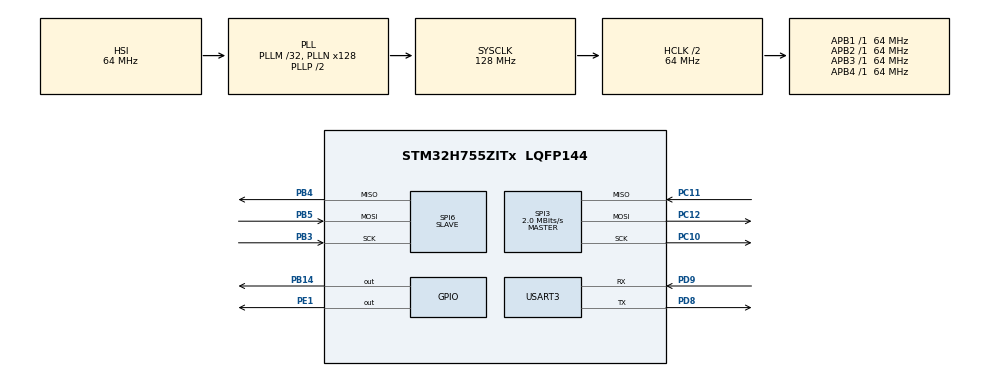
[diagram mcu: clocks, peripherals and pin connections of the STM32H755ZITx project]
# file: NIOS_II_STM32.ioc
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CORTEX_M7.default_mode_Activation=1
CortexM4.IPs=BDMA,CORTEX_M4\:I,DMA,FATFS_M4\:I,FREERTOS_M4\:I,GPIO,IWDG2\:I,MDMA,NVIC2\:I,OPENAMP_M4\:I,PDM2PCM_M4\:I,PWR,RCC,RESMGR_UTILITY,SYS_M4\:I,USB_DEVICE_M4\:I,USB_HOST_M4\:I,VREFBUF,WWDG2\:I
CortexM7.IPs=BDMA\:I,CORTEX_M7\:I,DMA\:I,FATFS_M7\:I,FREERTOS_M7\:I,GPIO\:I,IWDG1\:I,MDMA\:I,NVIC1\:I,OPENAMP_M7\:I,PDM2PCM_M7\:I,PWR\:I,RCC\:I,RESMGR_UTILITY\:I,SYS\:I,USB_DEVICE_M7\:I,USB_HOST_M7\:I,VREFBUF\:I,WWDG1\:I,SPI6\:I,TIM16\:I,USART3\:I,SPI3\:I
CortexM7.Pins=PB14,PE1
Mcu.Family=STM32H7
Mcu.Name=STM32H755ZITx
Mcu.Package=LQFP144
NVIC1.PriorityGroup=NVIC_PRIORITYGROUP_4
NVIC1.SPI3_IRQn=true\:0\:0\:false\:false\:true\:true\:true\:true
NVIC1.SPI6_IRQn=true\:0\:0\:false\:false\:true\:true\:true\:true
NVIC1.TIM16_IRQn=true\:0\:0\:false\:false\:true\:true\:true\:true
NVIC2.PriorityGroup=NVIC_PRIORITYGROUP_4
PB14.PinAttribute=CortexM7
PB14.Signal=GPIO_Output
PB3\ (JTDO/TRACESWO).Mode=Full_Duplex_Slave
PB3\ (JTDO/TRACESWO).PinAttribute=CortexM7
PB3\ (JTDO/TRACESWO).Signal=SPI6_SCK
PB4\ (NJTRST).Mode=Full_Duplex_Slave
PB4\ (NJTRST).PinAttribute=CortexM7
PB4\ (NJTRST).Signal=SPI6_MISO
PB5.Mode=Full_Duplex_Slave
PB5.PinAttribute=CortexM7
PB5.Signal=SPI6_MOSI
PC10.Mode=Full_Duplex_Master
PC10.PinAttribute=CortexM7
PC10.Signal=SPI3_SCK
PC11.Mode=Full_Duplex_Master
PC11.PinAttribute=CortexM7
PC11.Signal=SPI3_MISO
PC12.Mode=Full_Duplex_Master
PC12.PinAttribute=CortexM7
PC12.Signal=SPI3_MOSI
PC14-OSC32_IN\ (OSC32_IN).Mode=LSE-External-Oscillator
PC14-OSC32_IN\ (OSC32_IN).PinAttribute=Free
PC14-OSC32_IN\ (OSC32_IN).Signal=RCC_OSC32_IN
PC15-OSC32_OUT\ (OSC32_OUT).Mode=LSE-External-Oscillator
PC15-OSC32_OUT\ (OSC32_OUT).PinAttribute=Free
PC15-OSC32_OUT\ (OSC32_OUT).Signal=RCC_OSC32_OUT
PD8.Mode=Asynchronous
PD8.PinAttribute=CortexM7
PD8.Signal=USART3_TX
PD9.Mode=Asynchronous
PD9.PinAttribute=CortexM7
PD9.Signal=USART3_RX
PE1.GPIO_PuPd=GPIO_NOPULL
PE1.GPIO_Speed=GPIO_SPEED_FREQ_HIGH
PE1.PinAttribute=CortexM7
PE1.PinState=GPIO_PIN_RESET
PE1.Signal=GPIO_Output
PH0-OSC_IN\ (PH0).Mode=HSE-External-Oscillator
PH0-OSC_IN\ (PH0).PinAttribute=Free
PH0-OSC_IN\ (PH0).Signal=RCC_OSC_IN
PH1-OSC_OUT\ (PH1).Mode=HSE-External-Oscillator
PH1-OSC_OUT\ (PH1).PinAttribute=Free
PH1-OSC_OUT\ (PH1).Signal=RCC_OSC_OUT
ProjectManager.HeapSize=M4-0x200,M7-0x200
ProjectManager.StackSize=M4-0x400,M7-0x400
ProjectManager.TargetToolchain=STM32CubeIDE
RCC.ADCFreq_Value=129000000
RCC.APB1Freq_Value=64000000
RCC.APB2Freq_Value=64000000
RCC.APB3Freq_Value=64000000
RCC.APB4Freq_Value=64000000
RCC.CortexFreq_Value=64000000
RCC.D1CPRE=RCC_SYSCLK_DIV2
RCC.DIVN1=128
RCC.DIVQ1=4
RCC.DIVQ2=8
RCC.HCLKFreq_Value=64000000
RCC.SPI6CLockSelection=RCC_SPI6CLKSOURCE_PLL2
RCC.SYSCLKFreq_VALUE=128000000
RCC.SYSCLKSource=RCC_SYSCLKSOURCE_PLLCLK
RCC.USART234578CLockSelection=RCC_USART234578CLKSOURCE_PLL2
RCC.USBFreq_Value=64000000
SPI3.BaudRatePrescaler=SPI_BAUDRATEPRESCALER_32
SPI3.CLKPhase=SPI_PHASE_2EDGE
SPI3.CLKPolarity=SPI_POLARITY_HIGH
SPI3.CalculateBaudRate=2.0 MBits/s
SPI3.DataSize=SPI_DATASIZE_8BIT
SPI3.Direction=SPI_DIRECTION_2LINES
SPI3.Mode=SPI_MODE_MASTER
SPI3.VirtualType=VM_MASTER
SPI6.CLKPhase=SPI_PHASE_2EDGE
SPI6.CLKPolarity=SPI_POLARITY_HIGH
SPI6.DataSize=SPI_DATASIZE_8BIT
SPI6.Direction=SPI_DIRECTION_2LINES
SPI6.Mode=SPI_MODE_SLAVE
SPI6.VirtualType=VM_SLAVE
SYS.userName=SYS_M7
TIM16.Period=10000-1
TIM16.Prescaler=3200-1
USART3.VirtualMode-Asynchronous=VM_ASYNC
VP_SYS_M4_VS_Systick.Mode=SysTick
VP_TIM16_VS_ClockSourceINT.Mode=Enable_Timer
board=custom

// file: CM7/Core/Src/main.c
/* USER CODE BEGIN Header */
/**
  ******************************************************************************
  * @file           : main.c
  * @brief          : Main program body
  ******************************************************************************
  * @attention
  *
  * Copyright (c) 2024 STMicroelectronics.
  * All rights reserved.
  *
  * This software is licensed under terms that can be found in the LICENSE file
  * in the root directory of this software component.
  * If no LICENSE file comes with this software, it is provided AS-IS.
  *
  ******************************************************************************
  */
/* USER CODE END Header */
#include "main.h"
#include "spi.h"
#include "tim.h"
#include "usart.h"
#include "gpio.h"

/* USER CODE BEGIN PD */

#ifndef HSEM_ID_0
#define HSEM_ID_0 (0U) /* HW semaphore 0*/
#endif

/* USER CODE END PD */

/* USER CODE BEGIN PV */
uint8_t rx_data[10];					// Define Global Variable as UART Buffer
/* USER CODE END PV */

void SystemClock_Config(void);
void PeriphCommonClock_Config(void);
static void MPU_Config(void);

int main(void)
{

  /* USER CODE BEGIN 1 */

	char uart_buf[50];								// TIMER VARIABLES
	int uart_buf_len;								// TIMER VARIABLES
	uint16_t timer_val;								// TIMER VARIABLES

  /* USER CODE END 1 */
/* USER CODE BEGIN Boot_Mode_Sequence_0 */
  int32_t timeout;
/* USER CODE END Boot_Mode_Sequence_0 */

  /* MPU Configuration--------------------------------------------------------*/
  MPU_Config();

/* USER CODE BEGIN Boot_Mode_Sequence_1 */
  /* Wait until CPU2 boots and enters in stop mode or timeout*/
  timeout = 0xFFFF;
  while((__HAL_RCC_GET_FLAG(RCC_FLAG_D2CKRDY) != RESET) && (timeout-- > 0));
  if ( timeout < 0 )
  {
  Error_Handler();
  }
/* USER CODE END Boot_Mode_Sequence_1 */
  /* MCU Configuration--------------------------------------------------------*/

  /* Reset of all peripherals, Initializes the Flash interface and the Systick. */
  HAL_Init();

  /* Configure the system clock */
  SystemClock_Config();

  /* Configure the peripherals common clocks */
  PeriphCommonClock_Config();
/* USER CODE BEGIN Boot_Mode_Sequence_2 */
/* When system initialization is finished, Cortex-M7 will release Cortex-M4 by means of
HSEM notification */
/*HW semaphore Clock enable*/
__HAL_RCC_HSEM_CLK_ENABLE();
/*Take HSEM */
HAL_HSEM_FastTake(HSEM_ID_0);
/*Release HSEM in order to notify the CPU2(CM4)*/
HAL_HSEM_Release(HSEM_ID_0,0);
/* wait until CPU2 wakes up from stop mode */
timeout = 0xFFFF;
while((__HAL_RCC_GET_FLAG(RCC_FLAG_D2CKRDY) == RESET) && (timeout-- > 0));
if ( timeout < 0 )
{
Error_Handler();
}
/* USER CODE END Boot_Mode_Sequence_2 */

  /* Initialize all configured peripherals */
  MX_GPIO_Init();
  MX_SPI6_Init();
  MX_TIM16_Init();
  MX_USART3_UART_Init();
  MX_SPI3_Init();
  /* USER CODE BEGIN 2 */
  uart_buf_len = sprintf(uart_buf, "Timer Test\r\n");							// Calculates the size of the sentence
  HAL_UART_Transmit(&huart3, (uint8_t *)uart_buf, uart_buf_len, 100);			// SPI Transmit

    // Starts the timer - Normal
    // HAL_TIM_Base_Start(&htim16);

	// Starts the timer - Interrupt Mode
	HAL_TIM_Base_Start_IT(&htim16);

  	// Using SPI in Interrupt Mode
	// Starts SPI in Non-Blocking Mode

	uint8_t *send_buff = (uint8_t *)"fred";										// Define Send Buffer
	uint8_t rec_buff[4];														// Define Receive Buffer

	HAL_SPI_Receive_IT(&hspi6, rx_data, 4U);									// Single SPI Receive in IT mode
	HAL_SPI_Transmit_IT(&hspi3, send_buff, 4U);									// Single SPI Transmit in IT mode

	HAL_Delay(1000U);															// Delay for 1s

  /* USER CODE END 2 */

  /* Infinite loop */
  while (1)
  {

    /* USER CODE BEGIN 3 */

	  // Get current time (microseconds)
	  // timer_val = __HAL_TIM_GET_COUNTER(&htim16);

	  // Wait for 50 ms
	  // HAL_GPIO_WritePin(GPIOE, GPIO_PIN_1, GPIO_PIN_SET);
	  // HAL_Delay(50);
	  // HAL_GPIO_WritePin(GPIOE, GPIO_PIN_1, GPIO_PIN_RESET);

	  // Get time elapsed
	  // timer_val = __HAL_TIM_GET_COUNTER(&htim16) - timer_val;

	  // Show elapsed time
	  // uart_buf_len = sprintf(uart_buf, "%u us\r\n", timer_val);						// Calculate lenght of timer_val
	  // HAL_UART_Transmit(&huart3, (uint8_t *)uart_buf, uart_buf_len, 100);			// Prints the value of timer_val

	  // Doing other tasks
	  HAL_SPI_Transmit_IT(&hspi3, send_buff, 4U);									// Single SPI Transmit in IT mode
	  //HAL_GPIO_TogglePin(GPIOB, GPIO_PIN_14); 										// Toggle LED to show the system is running
	  HAL_Delay(500);                        										// Delay for 500 ms
  }
  /* USER CODE END 3 */
}

void SystemClock_Config(void)
{
  RCC_OscInitTypeDef RCC_OscInitStruct = {0};
  RCC_ClkInitTypeDef RCC_ClkInitStruct = {0};

  /** Supply configuration update enable
  */
  HAL_PWREx_ConfigSupply(PWR_DIRECT_SMPS_SUPPLY);

  /** Configure the main internal regulator output voltage
  */
  __HAL_PWR_VOLTAGESCALING_CONFIG(PWR_REGULATOR_VOLTAGE_SCALE3);

  while(!__HAL_PWR_GET_FLAG(PWR_FLAG_VOSRDY)) {}

  /** Initializes the RCC Oscillators according to the specified parameters
  * in the RCC_OscInitTypeDef structure.
  */
  RCC_OscInitStruct.OscillatorType = RCC_OSCILLATORTYPE_HSI;
  RCC_OscInitStruct.HSIState = RCC_HSI_DIV1;
  RCC_OscInitStruct.HSICalibrationValue = RCC_HSICALIBRATION_DEFAULT;
  RCC_OscInitStruct.PLL.PLLState = RCC_PLL_ON;
  RCC_OscInitStruct.PLL.PLLSource = RCC_PLLSOURCE_HSI;
  RCC_OscInitStruct.PLL.PLLM = 32;
  RCC_OscInitStruct.PLL.PLLN = 128;
  RCC_OscInitStruct.PLL.PLLP = 2;
  RCC_OscInitStruct.PLL.PLLQ = 4;
  RCC_OscInitStruct.PLL.PLLR = 2;
  RCC_OscInitStruct.PLL.PLLRGE = RCC_PLL1VCIRANGE_1;
  RCC_OscInitStruct.PLL.PLLVCOSEL = RCC_PLL1VCOWIDE;
  RCC_OscInitStruct.PLL.PLLFRACN = 0;
  if (HAL_RCC_OscConfig(&RCC_OscInitStruct) != HAL_OK)
  {
    Error_Handler();
  }

  /** Initializes the CPU, AHB and APB buses clocks
  */
  RCC_ClkInitStruct.ClockType = RCC_CLOCKTYPE_HCLK|RCC_CLOCKTYPE_SYSCLK
                              |RCC_CLOCKTYPE_PCLK1|RCC_CLOCKTYPE_PCLK2
                              |RCC_CLOCKTYPE_D3PCLK1|RCC_CLOCKTYPE_D1PCLK1;
  RCC_ClkInitStruct.SYSCLKSource = RCC_SYSCLKSOURCE_PLLCLK;
  RCC_ClkInitStruct.SYSCLKDivider = RCC_SYSCLK_DIV2;
  RCC_ClkInitStruct.AHBCLKDivider = RCC_HCLK_DIV1;
  RCC_ClkInitStruct.APB3CLKDivider = RCC_APB3_DIV1;
  RCC_ClkInitStruct.APB1CLKDivider = RCC_APB1_DIV1;
  RCC_ClkInitStruct.APB2CLKDivider = RCC_APB2_DIV1;
  RCC_ClkInitStruct.APB4CLKDivider = RCC_APB4_DIV1;

  if (HAL_RCC_ClockConfig(&RCC_ClkInitStruct, FLASH_LATENCY_1) != HAL_OK)
  {
    Error_Handler();
  }
}

void PeriphCommonClock_Config(void)
{
  RCC_PeriphCLKInitTypeDef PeriphClkInitStruct = {0};

  /** Initializes the peripherals clock
  */
  PeriphClkInitStruct.PeriphClockSelection = RCC_PERIPHCLK_SPI6|RCC_PERIPHCLK_USART3;
  PeriphClkInitStruct.PLL2.PLL2M = 32;
  PeriphClkInitStruct.PLL2.PLL2N = 129;
  PeriphClkInitStruct.PLL2.PLL2P = 2;
  PeriphClkInitStruct.PLL2.PLL2Q = 8;
  PeriphClkInitStruct.PLL2.PLL2R = 2;
  PeriphClkInitStruct.PLL2.PLL2RGE = RCC_PLL2VCIRANGE_1;
  PeriphClkInitStruct.PLL2.PLL2VCOSEL = RCC_PLL2VCOWIDE;
  PeriphClkInitStruct.PLL2.PLL2FRACN = 0;
  PeriphClkInitStruct.Usart234578ClockSelection = RCC_USART234578CLKSOURCE_PLL2;
  PeriphClkInitStruct.Spi6ClockSelection = RCC_SPI6CLKSOURCE_PLL2;
  if (HAL_RCCEx_PeriphCLKConfig(&PeriphClkInitStruct) != HAL_OK)
  {
    Error_Handler();
  }
}

/* USER CODE BEGIN 4 */
// Timer Period Elapsed Callback
// This function is called everytime the timer's counter is maximized.
void HAL_TIM_PeriodElapsedCallback(TIM_HandleTypeDef *htim){
	// Check the timer handle
	if (htim == &htim16){
		HAL_GPIO_TogglePin(GPIOB, GPIO_PIN_14);
		// We only send this message everytime the LED changes from off to on -- why serial is faster than the led blinking? Solution is this

		if(HAL_GPIO_ReadPin(GPIOE, GPIO_PIN_1) == GPIO_PIN_SET){
			char c[50] = "Timer Elapsed!\n";
			HAL_UART_Transmit(&huart3, (uint8_t *)c, sizeof(c), 100);
		}
	}
}

// SPI Receive Complete Callback
// This function is called everytime the SPI Receive is completed.
void HAL_SPI_RxCpltCallback(SPI_HandleTypeDef *hspi) {
    if (hspi->Instance == SPI6) {
        // Data reception complete, print in serial terminal
    	HAL_GPIO_TogglePin(GPIOE, GPIO_PIN_1);
    	HAL_UART_Transmit(&huart3, (uint8_t *)rx_data, sizeof(4U), 100);

    	// Single SPI Receive gets the SPI ready for any incoming traffic via SPI
    	 if (HAL_SPI_Receive_IT(&hspi6, (uint8_t*)rx_data, sizeof(4U)) != HAL_OK) {
    	  		// Reception Error
    	  		Error_Handler();
    	 }
    }
}

// SPI Error Callback
void HAL_SPI_ErrorCallback(SPI_HandleTypeDef *hspi) {
    if (hspi->Instance == SPI6) {
        // Handle SPI error
    	char uart_buf_spi_spi[50] = "SPI Error\n";
    	HAL_UART_Transmit(&huart3, (uint8_t *)uart_buf_spi_spi, sizeof(uart_buf_spi_spi), 100);
    }
}

/* USER CODE END 4 */

 /* MPU Configuration */

void MPU_Config(void)
{
  MPU_Region_InitTypeDef MPU_InitStruct = {0};

  /* Disables the MPU */
  HAL_MPU_Disable();

  /** Initializes and configures the Region and the memory to be protected
  */
  MPU_InitStruct.Enable = MPU_REGION_ENABLE;
  MPU_InitStruct.Number = MPU_REGION_NUMBER0;
  MPU_InitStruct.BaseAddress = 0x0;
  MPU_InitStruct.Size = MPU_REGION_SIZE_4GB;
  MPU_InitStruct.SubRegionDisable = 0x87;
  MPU_InitStruct.TypeExtField = MPU_TEX_LEVEL0;
  MPU_InitStruct.AccessPermission = MPU_REGION_NO_ACCESS;
  MPU_InitStruct.DisableExec = MPU_INSTRUCTION_ACCESS_DISABLE;
  MPU_InitStruct.IsShareable = MPU_ACCESS_SHAREABLE;
  MPU_InitStruct.IsCacheable = MPU_ACCESS_NOT_CACHEABLE;
  MPU_InitStruct.IsBufferable = MPU_ACCESS_NOT_BUFFERABLE;

  HAL_MPU_ConfigRegion(&MPU_InitStruct);
  /* Enables the MPU */
  HAL_MPU_Enable(MPU_PRIVILEGED_DEFAULT);

}

void Error_Handler(void)
{
  /* USER CODE BEGIN Error_Handler_Debug */
  /* User can add his own implementation to report the HAL error return state */
  __disable_irq();
  while (1)
  {
	  HAL_GPIO_WritePin(GPIOB, GPIO_PIN_14, GPIO_PIN_SET); // Turn LED on permanently
  }
  /* USER CODE END Error_Handler_Debug */
}
